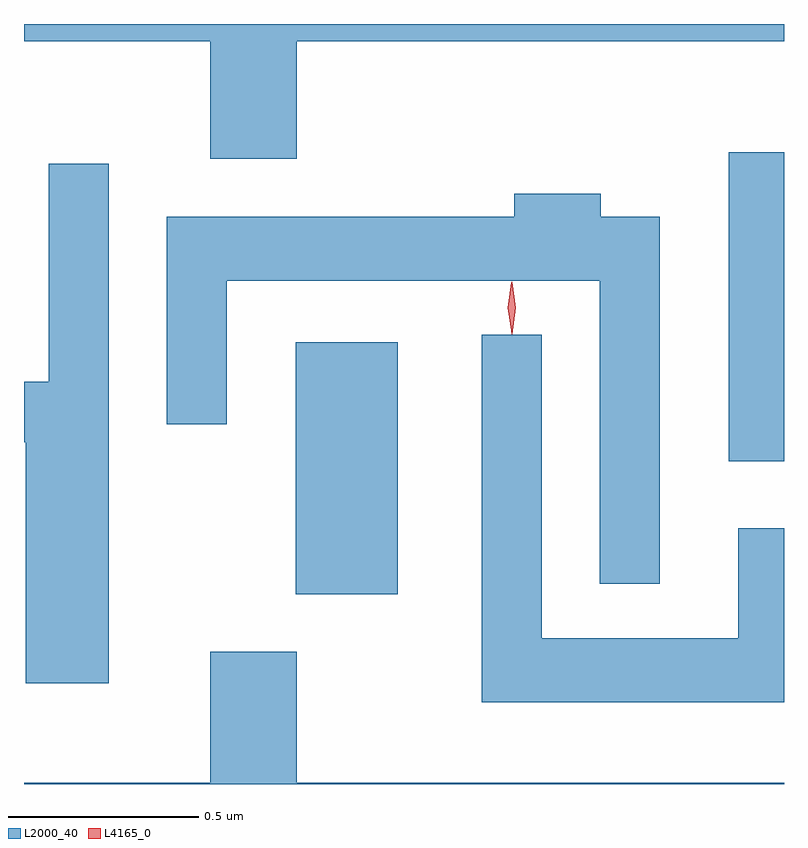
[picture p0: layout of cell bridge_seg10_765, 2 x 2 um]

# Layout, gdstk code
import gdstk
lib = gdstk.Library(unit=1e-6, precision=1e-09)
def R(c, l, rs):  # rectangles x0, y0, x1, y1
    for r in rs: c.add(gdstk.rectangle(r[:2], r[2:], *l))
def P(c, l, *ps):  # polygons
    for p in ps: c.add(gdstk.Polygon(p, *l))
L2000_40 = (2000, 40)
L4165_0 = (4165, 0)

bridge_seg10_765 = lib.new_cell('bridge_seg10_765')
R(bridge_seg10_765, L2000_40, [(950.086,2114.681,950.354,2115.344), (951.226,2115.031,951.371,2115.844)])
P(bridge_seg10_765, L2000_40, [(950.089,2116.136),(951.371,2116.136),(951.371,2116.181),(949.371,2116.181),(949.371,2116.136),(949.861,2116.136),(949.861,2115.826),(950.089,2115.826)],
  [(949.594,2115.813),(949.436,2115.813),(949.436,2115.239),(949.371,2115.239),(949.371,2115.081),(949.376,2115.081),(949.376,2114.446),(949.594,2114.446)],
  [(951.044,2115.674),(950.889,2115.674),(950.889,2115.734),(950.661,2115.734),(950.661,2115.674),(949.746,2115.674),(949.746,2115.128),(949.904,2115.128),(949.904,2115.506),(950.886,2115.506),(950.886,2114.708),(951.044,2114.708)],
  [(951.371,2114.854),(951.251,2114.854),(951.251,2114.564),(950.734,2114.564),(950.734,2115.363),(950.576,2115.363),(950.576,2114.396),(951.371,2114.396)],
  [(951.371,2114.184),(950.089,2114.184),(950.089,2114.529),(949.861,2114.529),(949.861,2114.184),(949.371,2114.184),(949.371,2114.181),(951.371,2114.181)])
P(bridge_seg10_765, L4165_0, [(950.654,2115.367),(950.654,2115.367),(950.644,2115.434),(950.653,2115.5),(950.654,2115.5),(950.654,2115.5),(950.664,2115.434),(950.655,2115.367)],
  [(950.654,2115.364),(950.645,2115.434),(950.654,2115.502),(950.655,2115.503),(950.656,2115.502),(950.665,2115.434),(950.656,2115.364),(950.655,2115.364)])

lib.write_gds('bridge_seg10_765.gds')
